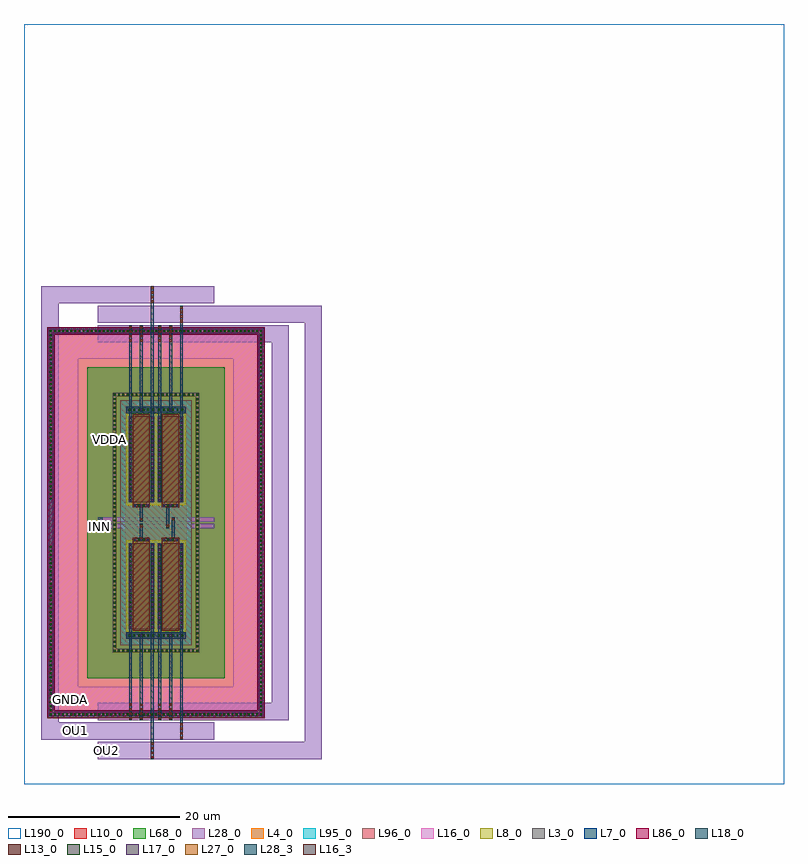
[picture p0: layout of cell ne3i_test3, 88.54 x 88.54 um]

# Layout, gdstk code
import gdstk
lib = gdstk.Library(unit=1e-6, precision=1e-09)
def R(c, l, rs):  # rectangles x0, y0, x1, y1
    for r in rs: c.add(gdstk.rectangle(r[:2], r[2:], *l))
def A(c, l, x, y, w, h, nx, ny, dx, dy):  # array of equal rectangles
    R(c, l, [(x+i*dx, y+j*dy, x+i*dx+w, y+j*dy+h) for i in range(nx) for j in range(ny)])
L3_0 = (3, 0)
L4_0 = (4, 0)
L7_0 = (7, 0)
L8_0 = (8, 0)
L10_0 = (10, 0)
L13_0 = (13, 0)
L15_0 = (15, 0)
L16_0 = (16, 0)
L16_3 = (16, 3)
L17_0 = (17, 0)
L18_0 = (18, 0)
L27_0 = (27, 0)
L28_0 = (28, 0)
L28_3 = (28, 3)
L68_0 = (68, 0)
L86_0 = (86, 0)
L95_0 = (95, 0)
L96_0 = (96, 0)
L190_0 = (190, 0)

ne3i_6_cdns_719161253260 = lib.new_cell('ne3i_6_CDNS_719161253260')
R(ne3i_6_cdns_719161253260, L3_0, [(-0.48,0,0,10), (0,0,2,10), (2,0,2.48,10)])
R(ne3i_6_cdns_719161253260, L4_0, [(-0.88,-1.27,2.88,10.4), (-0.88,-1.27,2.88,10.4)])
R(ne3i_6_cdns_719161253260, L7_0, [(-0.74,-1.13,2.74,-0.35)])
R(ne3i_6_cdns_719161253260, L8_0, [(-0.74,-0.35,2.74,10.35), (-0.74,-0.35,2.74,10.35)])
R(ne3i_6_cdns_719161253260, L10_0, [(-8.06,-8.45,10.06,18.57)])
R(ne3i_6_cdns_719161253260, L13_0, [(0,-0.22,2,0), (0,-0.22,2,-0.12), (0,0,2,10), (0,10,2,10.2)])
A(ne3i_6_cdns_719161253260, L15_0, -0.46, -0.85, 0.22, 0.22, 6, 1, 0.54, 0)
A(ne3i_6_cdns_719161253260, L15_0, -0.38, 0.1, 0.22, 0.22, 1, 17, 0, 0.48)
A(ne3i_6_cdns_719161253260, L15_0, 2.16, 0.1, 0.22, 0.22, 1, 17, 0, 0.48)
A(ne3i_6_cdns_719161253260, L15_0, -0.38, 8.255, 0.22, 0.22, 1, 4, 0, 0.475)
A(ne3i_6_cdns_719161253260, L15_0, 2.16, 8.255, 0.22, 0.22, 1, 4, 0, 0.475)
A(ne3i_6_cdns_719161253260, L15_0, 0.63, 10.3, 0.22, 0.22, 3, 1, 0.525, 0)
R(ne3i_6_cdns_719161253260, L15_0, [(0.1,10.3,0.32,10.52)])
A(ne3i_6_cdns_719161253260, L17_0, -0.4, 0.1, 0.26, 0.26, 1, 19, 0, 0.53)
A(ne3i_6_cdns_719161253260, L17_0, 2.14, 0.1, 0.26, 0.26, 1, 19, 0, 0.53)
A(ne3i_6_cdns_719161253260, L17_0, 0.1, 10.28, 0.26, 0.26, 3, 1, 0.77, 0)
R(ne3i_6_cdns_719161253260, L68_0, [(-4.06,-4.45,6.06,14.57)])
R(ne3i_6_cdns_719161253260, L95_0, [(-1.48,-1.87,3.48,11)])
R(ne3i_6_cdns_719161253260, L96_0, [(-1.48,-1.87,3.48,11)])
ne3i_6_cdns_719161253260.add(gdstk.FlexPath([(0,10.41),(2,10.41)], 0.42, ends="flush", simple_path=True, layer=13, datatype=0))  # L13_0
ne3i_6_cdns_719161253260.add(gdstk.FlexPath([(-0.56,-0.74),(2.56,-0.74)], 0.42, ends="flush", simple_path=True, layer=3, datatype=0))  # L3_0
ne3i_6_cdns_719161253260.add(gdstk.FlexPath([(2.27,0.04),(2.27,9.96)], 0.34, ends="flush", simple_path=True, layer=18, datatype=0))  # L18_0
ne3i_6_cdns_719161253260.add(gdstk.FlexPath([(-0.27,0.04),(-0.27,9.96)], 0.34, ends="flush", simple_path=True, layer=18, datatype=0))  # L18_0
ne3i_6_cdns_719161253260.add(gdstk.FlexPath([(0.04,10.41),(1.96,10.41)], 0.34, ends="flush", simple_path=True, layer=18, datatype=0))  # L18_0
ne3i_6_cdns_719161253260.add(gdstk.FlexPath([(-0.52,-0.74),(2.52,-0.74)], 0.34, ends="flush", simple_path=True, layer=16, datatype=0))  # L16_0
ne3i_6_cdns_719161253260.add(gdstk.FlexPath([(2.27,0.04),(2.27,9.96)], 0.34, ends="flush", simple_path=True, layer=16, datatype=0))  # L16_0
ne3i_6_cdns_719161253260.add(gdstk.FlexPath([(-0.27,0.04),(-0.27,9.96)], 0.34, ends="flush", simple_path=True, layer=16, datatype=0))  # L16_0
ne3i_6_cdns_719161253260.add(gdstk.FlexPath([(0.04,10.41),(1.96,10.41)], 0.34, ends="flush", simple_path=True, layer=16, datatype=0))  # L16_0
ne3i_6_cdns_719161253260.add(gdstk.FlexPath([(-0.74,-0.74),(2.74,-0.74)], 0.78, ends="flush", simple_path=True, layer=7, datatype=0))  # L7_0
ne3i_6_cdns_719161253260.add(gdstk.Label('G', (1,-0.17), layer=13, texttype=0))
ne3i_6_cdns_719161253260.add(gdstk.Label('D', (2.24,5), layer=3, texttype=0))
ne3i_6_cdns_719161253260.add(gdstk.Label('S', (-0.24,5), layer=3, texttype=0))
ne3i_6_cdns_719161253260.add(gdstk.Label('6T', (1,5), layer=13, texttype=5))
ne3i_6_cdns_719161253260.add(gdstk.Label('D', (2.27,0.04), layer=18, texttype=0))
ne3i_6_cdns_719161253260.add(gdstk.Label('S', (-0.27,0.04), layer=18, texttype=0))
ne3i_6_cdns_719161253260.add(gdstk.Label('G', (0.04,10.41), layer=18, texttype=0))
ne3i_6_cdns_719161253260.add(gdstk.Label('B', (-0.52,-0.74), layer=16, texttype=0))
ne3i_6_cdns_719161253260.add(gdstk.Label('[@instanceName]', (1,5.135), layer=230, texttype=0))

via2_c_cdns_719161253260 = lib.new_cell('VIA2_C_CDNS_719161253260')
R(via2_c_cdns_719161253260, L18_0, [(-0.14,-0.97,0.14,0.97)])
A(via2_c_cdns_719161253260, L27_0, -0.13, -0.91, 0.26, 0.26, 1, 4, 0, 0.52)
R(via2_c_cdns_719161253260, L28_0, [(-0.14,-0.97,0.14,0.97)])

via1_c_cdns_719161253261 = lib.new_cell('VIA1_C_CDNS_719161253261')
R(via1_c_cdns_719161253261, L16_0, [(-0.19,-0.14,0.19,0.14)])
R(via1_c_cdns_719161253261, L17_0, [(-0.13,-0.13,0.13,0.13)])
R(via1_c_cdns_719161253261, L18_0, [(-0.14,-0.19,0.14,0.19)])

via2_c_cdns_719161253262 = lib.new_cell('VIA2_C_CDNS_719161253262')
R(via2_c_cdns_719161253262, L18_0, [(-0.14,-0.19,0.14,0.19)])
R(via2_c_cdns_719161253262, L27_0, [(-0.13,-0.13,0.13,0.13)])
R(via2_c_cdns_719161253262, L28_0, [(-0.14,-0.19,0.14,0.19)])

ne3i_test3 = lib.new_cell('ne3i_test3')
R(ne3i_test3, L4_0, [(11.795,16.775,18.955,44.115)])
A(ne3i_test3, L15_0, 3.025, 8.005, 0.22, 0.22, 45, 1, 0.47, 0)
A(ne3i_test3, L15_0, 24.18, 8.005, 0.22, 0.22, 8, 1, 0.475, 0)
A(ne3i_test3, L15_0, 27.505, 8.475, 0.22, 0.22, 1, 93, 0, 0.47)
A(ne3i_test3, L15_0, 3.025, 8.485, 0.22, 0.22, 1, 7, 0, 0.48)
A(ne3i_test3, L15_0, 3.025, 11.84, 0.22, 0.22, 1, 34, 0, 0.475)
A(ne3i_test3, L15_0, 10.445, 15.425, 0.22, 0.22, 11, 1, 0.505, 0)
A(ne3i_test3, L15_0, 16.005, 15.425, 0.22, 0.22, 9, 1, 0.51, 0)
A(ne3i_test3, L15_0, 20.085, 15.93, 0.22, 0.22, 1, 54, 0, 0.505)
A(ne3i_test3, L15_0, 10.445, 15.935, 0.22, 0.22, 1, 3, 0, 0.51)
A(ne3i_test3, L15_0, 10.445, 17.46, 0.22, 0.22, 1, 26, 0, 0.505)
A(ne3i_test3, L15_0, 10.445, 30.585, 0.22, 0.22, 1, 4, 0, 0.51)
A(ne3i_test3, L15_0, 10.445, 32.62, 0.22, 0.22, 1, 25, 0, 0.505)
A(ne3i_test3, L15_0, 3.025, 33.155, 0.22, 0.22, 1, 8, 0, 0.48)
A(ne3i_test3, L15_0, 3.025, 36.99, 0.22, 0.22, 1, 33, 0, 0.475)
A(ne3i_test3, L15_0, 20.085, 43.205, 0.22, 0.22, 1, 4, 0, 0.51)
A(ne3i_test3, L15_0, 10.445, 45.245, 0.22, 0.22, 10, 1, 0.51, 0)
A(ne3i_test3, L15_0, 15.54, 45.245, 0.22, 0.22, 10, 1, 0.505, 0)
A(ne3i_test3, L15_0, 3.025, 52.665, 0.22, 0.22, 9, 1, 0.475, 0)
A(ne3i_test3, L15_0, 7.295, 52.665, 0.22, 0.22, 44, 1, 0.47, 0)
R(ne3i_test3, L15_0, [(27.505,52.19,27.725,52.41)])
R(ne3i_test3, L16_0, [(4.615,9.14,6.25,10.575), (9.555,39.74,10.62,40.565)])
R(ne3i_test3, L16_3, [(5.17,9.635,5.67,10.135), (9.67,39.935,10.17,40.435)])
R(ne3i_test3, L28_0, [(8.615,3.39,10.36,4.47), (5.14,5.62,6.795,6.765), (8.615,29.8,9.285,30.3), (8.615,30.58,9.3,31.08)])
R(ne3i_test3, L28_3, [(9.195,3.645,9.695,4.145), (5.66,5.93,6.16,6.43), (8.615,29.8,9.115,30.3), (8.665,30.58,9.165,31.08)])
R(ne3i_test3, L68_0, [(7.345,12.325,23.405,48.565)])
R(ne3i_test3, L95_0, [(11.195,16.175,19.555,44.715)])
R(ne3i_test3, L96_0, [(11.195,16.175,19.555,44.715)])
R(ne3i_test3, L190_0, [(0,0,88.54,88.54)])
ne3i_test3.add(gdstk.FlexPath([(10.555,30.445),(10.555,45.355),(20.195,45.355),(20.195,15.535),(10.555,15.535),(10.555,30.445)], 0.42, ends="flush", simple_path=True, layer=3, datatype=0))  # L3_0
ne3i_test3.add(gdstk.FlexPath([(3.135,30.445),(3.135,52.775),(27.615,52.775),(27.615,8.115),(3.135,8.115),(3.135,30.445)], 0.42, ends="flush", simple_path=True, layer=3, datatype=0))  # L3_0
ne3i_test3.add(gdstk.FlexPath([(13.675,32.435),(13.675,30.83)], 0.34, ends=(0.17, 0.25), simple_path=True, layer=18, datatype=0))  # L18_0
ne3i_test3.add(gdstk.FlexPath([(17.385,28.455),(17.385,30.83)], 0.34, ends=(0.17, 0.25), simple_path=True, layer=18, datatype=0))  # L18_0
ne3i_test3.add(gdstk.FlexPath([(16.765,32.435),(16.765,30.05)], 0.34, ends=(0.17, 0.25), simple_path=True, layer=18, datatype=0))  # L18_0
ne3i_test3.add(gdstk.FlexPath([(13.675,28.455),(13.675,30.05)], 0.34, ends=(0.17, 0.25), simple_path=True, layer=18, datatype=0))  # L18_0
ne3i_test3.add(gdstk.FlexPath([(14.945,42.615),(14.945,56.995)], 0.34, ends=(0.17, 1), simple_path=True, layer=18, datatype=0))  # L18_0
ne3i_test3.add(gdstk.FlexPath([(18.345,18.275),(18.345,6.175)], 0.34, ends=(0.17, 1), simple_path=True, layer=18, datatype=0))  # L18_0
ne3i_test3.add(gdstk.FlexPath([(18.345,42.615),(18.345,54.715)], 0.34, ends=(0.17, 1), simple_path=True, layer=18, datatype=0))  # L18_0
ne3i_test3.add(gdstk.FlexPath([(14.945,18.275),(14.945,3.895)], 0.34, ends=(0.17, 1), simple_path=True, layer=18, datatype=0))  # L18_0
ne3i_test3.add(gdstk.FlexPath([(12.405,18.275),(12.405,8.455)], 0.34, ends=(0.17, 1), simple_path=True, layer=18, datatype=0))  # L18_0
ne3i_test3.add(gdstk.FlexPath([(13.675,17.305),(13.675,8.455)], 0.34, ends=(0.19, 1), simple_path=True, layer=18, datatype=0))  # L18_0
ne3i_test3.add(gdstk.FlexPath([(12.405,42.615),(12.405,52.435)], 0.34, ends=(0.17, 1), simple_path=True, layer=18, datatype=0))  # L18_0
ne3i_test3.add(gdstk.FlexPath([(13.675,43.585),(13.675,52.435)], 0.34, ends=(0.19, 1), simple_path=True, layer=18, datatype=0))  # L18_0
ne3i_test3.add(gdstk.FlexPath([(17.075,17.305),(17.075,8.455)], 0.34, ends=(0.19, 1), simple_path=True, layer=18, datatype=0))  # L18_0
ne3i_test3.add(gdstk.FlexPath([(17.075,43.585),(17.075,52.435)], 0.34, ends=(0.19, 1), simple_path=True, layer=18, datatype=0))  # L18_0
ne3i_test3.add(gdstk.FlexPath([(15.805,18.275),(15.805,8.455)], 0.34, ends=(0.17, 1), simple_path=True, layer=18, datatype=0))  # L18_0
ne3i_test3.add(gdstk.FlexPath([(15.805,42.615),(15.805,52.435)], 0.34, ends=(0.17, 1), simple_path=True, layer=18, datatype=0))  # L18_0
ne3i_test3.add(gdstk.FlexPath([(10.555,30.445),(10.555,45.355),(20.195,45.355),(20.195,15.535),(10.555,15.535),(10.555,30.445)], 0.34, ends="flush", simple_path=True, layer=16, datatype=0))  # L16_0
ne3i_test3.add(gdstk.FlexPath([(4.655,30.445),(4.655,51.255),(26.095,51.255),(26.095,9.635),(4.655,9.635),(4.655,30.445)], 3.38, ends="flush", simple_path=True, layer=16, datatype=0))  # L16_0
ne3i_test3.add(gdstk.FlexPath([(10.555,30.445),(10.555,45.355),(20.195,45.355),(20.195,15.535),(10.555,15.535),(10.555,30.445)], 0.46, ends="flush", simple_path=True, layer=8, datatype=0))  # L8_0
ne3i_test3.add(gdstk.FlexPath([(3.135,30.445),(3.135,52.775),(27.615,52.775),(27.615,8.115),(3.135,8.115),(3.135,30.445)], 0.78, ends="flush", simple_path=True, layer=7, datatype=0))  # L7_0
ne3i_test3.add(gdstk.FlexPath([(5.345,30.445),(5.345,50.565),(25.405,50.565),(25.405,10.325),(5.345,10.325),(5.345,30.445)], 4, ends="flush", simple_path=True, layer=10, datatype=0))  # L10_0
ne3i_test3.add(gdstk.FlexPath([(3.035,56.995),(9.71,56.995)], 2, ends=(1, 0), simple_path=True, layer=28, datatype=0))  # L28_0
ne3i_test3.add(gdstk.FlexPath([(3.035,6.175),(3.035,56.995)], 2, ends="extended", simple_path=True, layer=28, datatype=0))  # L28_0
ne3i_test3.add(gdstk.FlexPath([(22.135,6.175),(3.035,6.175)], 2, ends=(0, 1), simple_path=True, layer=28, datatype=0))  # L28_0
ne3i_test3.add(gdstk.FlexPath([(20.86,3.9),(20.86,3.895)], 2, ends=(1, 0), simple_path=True, layer=28, datatype=0))  # L28_0
ne3i_test3.add(gdstk.FlexPath([(33.705,3.9),(20.86,3.9)], 2, ends="extended", simple_path=True, layer=28, datatype=0))  # L28_0
ne3i_test3.add(gdstk.FlexPath([(33.705,54.715),(33.705,3.9)], 2, ends="extended", simple_path=True, layer=28, datatype=0))  # L28_0
ne3i_test3.add(gdstk.FlexPath([(20.405,54.715),(33.705,54.715)], 2, ends=(0, 1), simple_path=True, layer=28, datatype=0))  # L28_0
ne3i_test3.add(gdstk.FlexPath([(29.84,52.435),(18.54,52.435)], 2, ends=(1, 0), simple_path=True, layer=28, datatype=0))  # L28_0
ne3i_test3.add(gdstk.FlexPath([(29.84,8.455),(29.84,52.435)], 2, ends="extended", simple_path=True, layer=28, datatype=0))  # L28_0
ne3i_test3.add(gdstk.FlexPath([(20.89,8.455),(29.84,8.455)], 2, ends=(0, 1), simple_path=True, layer=28, datatype=0))  # L28_0
ne3i_test3.add(gdstk.FlexPath([(8.615,56.995),(22.135,56.995)], 2, ends="flush", simple_path=True, layer=28, datatype=0))  # L28_0
ne3i_test3.add(gdstk.FlexPath([(8.615,54.715),(22.135,54.715)], 2, ends="flush", simple_path=True, layer=28, datatype=0))  # L28_0
ne3i_test3.add(gdstk.FlexPath([(8.615,52.435),(22.135,52.435)], 2, ends="flush", simple_path=True, layer=28, datatype=0))  # L28_0
ne3i_test3.add(gdstk.FlexPath([(8.615,30.83),(22.135,30.83)], 0.5, ends="flush", simple_path=True, layer=28, datatype=0))  # L28_0
ne3i_test3.add(gdstk.FlexPath([(8.615,30.05),(22.135,30.05)], 0.5, ends="flush", simple_path=True, layer=28, datatype=0))  # L28_0
ne3i_test3.add(gdstk.FlexPath([(8.615,6.175),(22.135,6.175)], 2, ends="flush", simple_path=True, layer=28, datatype=0))  # L28_0
ne3i_test3.add(gdstk.FlexPath([(8.615,3.895),(22.135,3.895)], 2, ends="flush", simple_path=True, layer=28, datatype=0))  # L28_0
ne3i_test3.add(gdstk.FlexPath([(8.615,8.455),(22.135,8.455)], 2, ends="flush", simple_path=True, layer=28, datatype=0))  # L28_0
ne3i_test3.add(gdstk.FlexPath([(3.135,30.445),(3.135,52.775),(27.615,52.775),(27.615,8.115),(3.135,8.115),(3.135,30.445)], 0.9, ends="flush", simple_path=True, layer=86, datatype=0))  # L86_0
ne3i_test3.add(gdstk.Reference(ne3i_6_cdns_719161253260, (16.075,42.845), x_reflection=True))
ne3i_test3.add(gdstk.Reference(ne3i_6_cdns_719161253260, (12.675,18.045)))
ne3i_test3.add(gdstk.Reference(ne3i_6_cdns_719161253260, (12.675,42.845), x_reflection=True))
ne3i_test3.add(gdstk.Reference(ne3i_6_cdns_719161253260, (16.075,18.045)))
ne3i_test3.add(gdstk.Reference(via2_c_cdns_719161253260, (14.945,56.995)))
ne3i_test3.add(gdstk.Reference(via2_c_cdns_719161253260, (18.345,6.175)))
ne3i_test3.add(gdstk.Reference(via2_c_cdns_719161253260, (18.345,54.715)))
ne3i_test3.add(gdstk.Reference(via2_c_cdns_719161253260, (14.945,3.895)))
ne3i_test3.add(gdstk.Reference(via2_c_cdns_719161253260, (12.405,8.455)))
ne3i_test3.add(gdstk.Reference(via2_c_cdns_719161253260, (13.675,8.455)))
ne3i_test3.add(gdstk.Reference(via2_c_cdns_719161253260, (12.405,52.435)))
ne3i_test3.add(gdstk.Reference(via2_c_cdns_719161253260, (13.675,52.435)))
ne3i_test3.add(gdstk.Reference(via2_c_cdns_719161253260, (17.075,8.455)))
ne3i_test3.add(gdstk.Reference(via2_c_cdns_719161253260, (17.075,52.435)))
ne3i_test3.add(gdstk.Reference(via2_c_cdns_719161253260, (15.805,8.455)))
ne3i_test3.add(gdstk.Reference(via2_c_cdns_719161253260, (15.805,52.435)))
ne3i_test3.add(gdstk.Reference(via1_c_cdns_719161253261, (13.675,17.305)))
ne3i_test3.add(gdstk.Reference(via1_c_cdns_719161253261, (13.675,43.585)))
ne3i_test3.add(gdstk.Reference(via1_c_cdns_719161253261, (17.075,17.305)))
ne3i_test3.add(gdstk.Reference(via1_c_cdns_719161253261, (17.075,43.585)))
ne3i_test3.add(gdstk.Reference(via2_c_cdns_719161253262, (13.675,30.83)))
ne3i_test3.add(gdstk.Reference(via2_c_cdns_719161253262, (17.385,30.83)))
ne3i_test3.add(gdstk.Reference(via2_c_cdns_719161253262, (16.765,30.05)))
ne3i_test3.add(gdstk.Reference(via2_c_cdns_719161253262, (13.675,30.05)))
ne3i_test3.add(gdstk.Label('INN', (8.85,30.05), layer=28, texttype=15))
ne3i_test3.add(gdstk.Label('INP', (8.985,30.83), layer=28, texttype=15))
ne3i_test3.add(gdstk.Label('INP', (8.915,30.83), layer=28, texttype=15))
ne3i_test3.add(gdstk.Label('OU1', (5.95,6.175), layer=28, texttype=15))
ne3i_test3.add(gdstk.Label('OU2', (9.565,3.895), layer=28, texttype=15))
ne3i_test3.add(gdstk.Label('VDDA', (9.92,40.185), layer=16, texttype=3))
ne3i_test3.add(gdstk.Label('GNDA', (5.42,9.885), layer=16, texttype=3))
ne3i_test3.add(gdstk.Label('VDDA', (9.92,40.185), layer=16, texttype=15))
ne3i_test3.add(gdstk.Label('GNDA', (5.42,9.885), layer=16, texttype=15))
ne3i_test3.add(gdstk.Label('OU2', (9.445,3.895), layer=28, texttype=3))
ne3i_test3.add(gdstk.Label('OU1', (5.91,6.18), layer=28, texttype=3))
ne3i_test3.add(gdstk.Label('INN', (8.865,30.05), layer=28, texttype=3))
ne3i_test3.add(gdstk.Label('INP', (8.915,30.83), layer=28, texttype=3))

lib.write_gds('ne3i_test3.gds')
